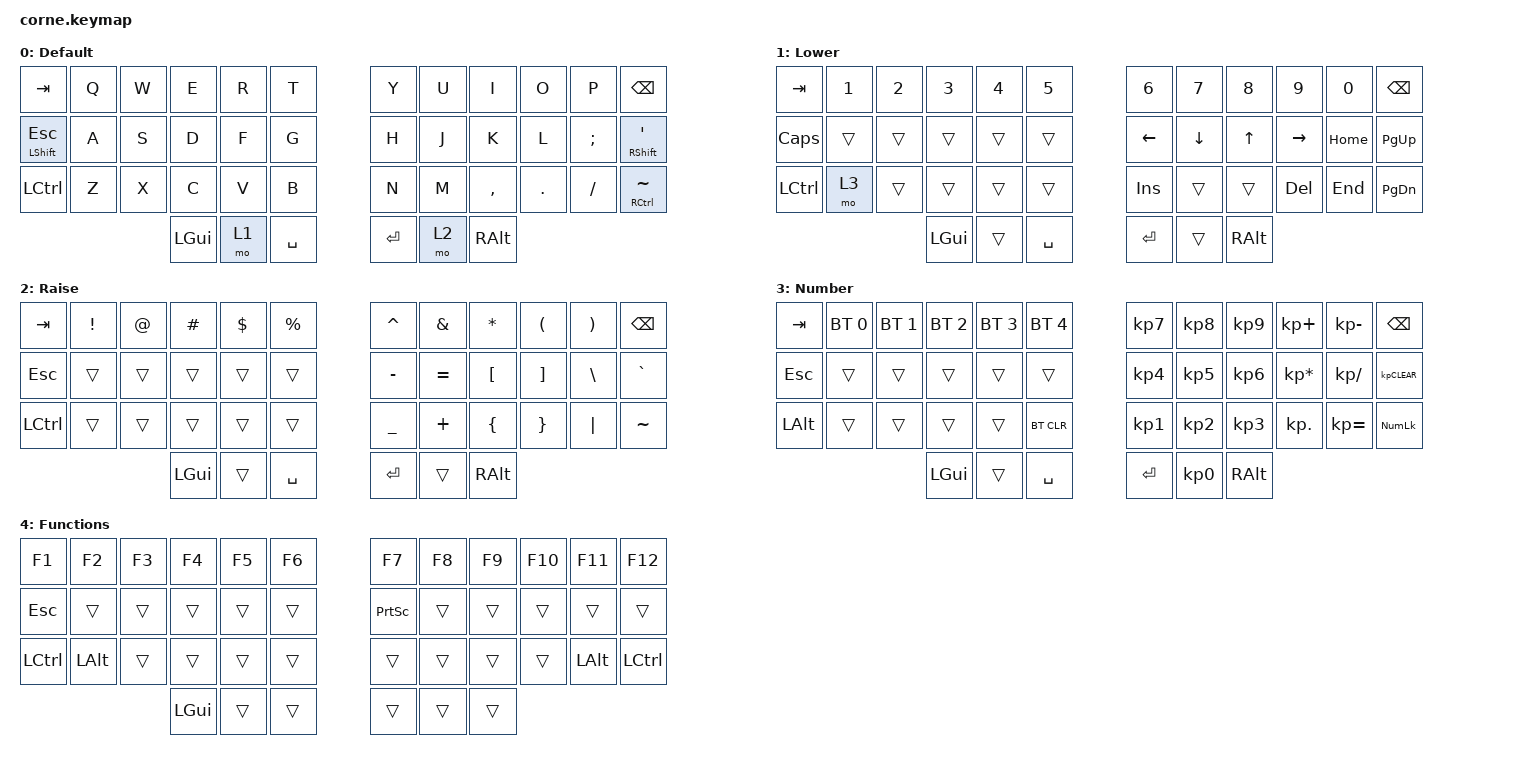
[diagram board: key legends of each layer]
/*
 * Copyright (c) 2020 The ZMK Contributors
 *
 * SPDX-License-Identifier: MIT
 */

#include <behaviors.dtsi>
#include <dt-bindings/zmk/bt.h>
#include <dt-bindings/zmk/keys.h>

/ {
    keymap {
        compatible = "zmk,keymap";

        default_layer {
            // -----------------------------------------------------------------------------------------
            // |  TAB |  Q  |  W  |  E  |  R  |  T  |   |  Y  |  U   |  I  |  O  |  P  | BSPC |
            // | CTRL |  A  |  S  |  D  |  F  |  G  |   |  H  |  J   |  K  |  L  |  ;  |  '   |
            // | SHFT |  Z  |  X  |  C  |  V  |  B  |   |  N  |  M   |  ,  |  .  |  /  | ESC  |
            //                    | GUI | LWR | SPC |   | ENT | RSE  | ALT |

            bindings = <
&kp TAB             &kp Q  &kp W  &kp E     &kp R  &kp T        &kp Y    &kp U  &kp I      &kp O    &kp P     &kp BSPC
&mt LEFT_SHIFT ESC  &kp A  &kp S  &kp D     &kp F  &kp G        &kp H    &kp J  &kp K      &kp L    &kp SEMI  &mt RIGHT_SHIFT SINGLE_QUOTE
&kp LCTRL           &kp Z  &kp X  &kp C     &kp V  &kp B        &kp N    &kp M  &kp COMMA  &kp DOT  &kp FSLH  &mt RCTRL TILDE
                                  &kp LGUI  &mo 1  &kp SPACE    &kp RET  &mo 2  &kp RALT
            >;

            label = "Default";
        };

        lower_layer {
            // -----------------------------------------------------------------------------------------
            // |  TAB |  1  |  2  |  3  |  4  |  5  |   |  6  |  7  |  8  |  9  |  0  | BSPC |
            // | BTCLR| BT1 | BT2 | BT3 | BT4 | BT5 |   | LFT | DWN |  UP | RGT |     |      |
            // | SHFT |     |     |     |     |     |   |     |     |     |     |     |      |
            //                    | GUI |     | SPC |   | ENT |     | ALT |

            bindings = <
&kp TAB    &kp N1  &kp N2  &kp N3    &kp N4  &kp N5       &kp N6      &kp N7    &kp N8    &kp N9      &kp N0    &kp BSPC
&kp CAPS   &trans  &trans  &trans    &trans  &trans       &kp LEFT    &kp DOWN  &kp UP    &kp RIGHT   &kp HOME  &kp PAGE_UP
&kp LCTRL  &mo 3   &trans  &trans    &trans  &trans       &kp INSERT  &trans    &trans    &kp DELETE  &kp END   &kp PAGE_DOWN
                           &kp LGUI  &trans  &kp SPACE    &kp RET     &trans    &kp RALT
            >;

            label = "Lower";
        };

        raise_layer {
            // -----------------------------------------------------------------------------------------
            // |  TAB |  !  |  @  |  #  |  $  |  %  |   |  ^  |  &  |  *  |  (  |  )  | BSPC |
            // | CTRL |     |     |     |     |     |   |  -  |  =  |  [  |  ]  |  \  |  `   |
            // | SHFT |     |     |     |     |     |   |  _  |  +  |  {  |  }  | "|" |  ~   |
            //                    | GUI |     | SPC |   | ENT |     | ALT |

            bindings = <
&kp TAB    &kp EXCL  &kp AT  &kp HASH  &kp DLLR  &kp PRCNT    &kp CARET  &kp AMPS   &kp ASTRK  &kp LPAR  &kp RPAR  &kp BSPC
&kp ESC    &trans    &trans  &trans    &trans    &trans       &kp MINUS  &kp EQUAL  &kp LBKT   &kp RBKT  &kp BSLH  &kp GRAVE
&kp LCTRL  &trans    &trans  &trans    &trans    &trans       &kp UNDER  &kp PLUS   &kp LBRC   &kp RBRC  &kp PIPE  &kp TILDE
                             &kp LGUI  &trans    &kp SPACE    &kp RET    &trans     &kp RALT
            >;

            label = "Raise";
        };

        num_layer {
            bindings = <
&kp TAB   &bt BT_SEL 0  &bt BT_SEL 1  &bt BT_SEL 2  &bt BT_SEL 3  &bt BT_SEL 4    &kp KP_N7  &kp KP_N8  &kp KP_N9  &kp KP_PLUS      &kp KP_MINUS   &kp BACKSPACE
&kp ESC   &trans        &trans        &trans        &trans        &trans          &kp KP_N4  &kp KP_N5  &kp KP_N6  &kp KP_MULTIPLY  &kp KP_DIVIDE  &kp KP_CLEAR
&kp LALT  &trans        &trans        &trans        &trans        &bt BT_CLR      &kp KP_N1  &kp KP_N2  &kp KP_N3  &kp KP_DOT       &kp KP_EQUAL   &kp KP_NUMLOCK
                                      &kp LGUI      &trans        &kp SPACE       &kp RET    &kp KP_N0  &kp RALT
            >;

            label = "Number";
        };

        Functions {
            bindings = <
&kp F1     &kp F2    &kp F3  &kp F4    &kp F5  &kp F6    &kp F7           &kp F8  &kp F9  &kp F10  &kp F11       &kp F12
&kp ESC    &trans    &trans  &trans    &trans  &trans    &kp PRINTSCREEN  &trans  &trans  &trans   &trans        &trans
&kp LCTRL  &kp LALT  &trans  &trans    &trans  &trans    &trans           &trans  &trans  &trans   &kp LEFT_ALT  &kp LCTRL
                             &kp LGUI  &trans  &trans    &trans           &trans  &trans
            >;

            label = "Functions";
        };
    };

    conditional_layers {
        compatible = "zmk,conditional-layers";

        Function_keys {
            if-layers = <1 2>;
            then-layer = <4>;
        };
    };
};
